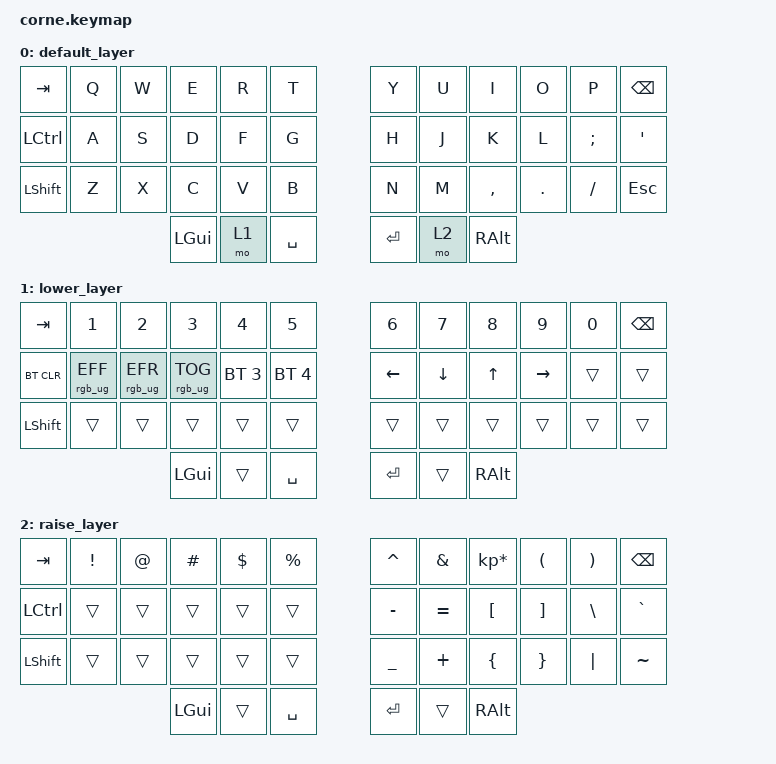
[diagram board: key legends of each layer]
/*
 * Copyright (c) 2020 The ZMK Contributors
 *
 * SPDX-License-Identifier: MIT
 */

#include <behaviors.dtsi>
#include <dt-bindings/zmk/keys.h>
#include <dt-bindings/zmk/bt.h>
#include <dt-bindings/zmk/rgb.h>

/*
 * Temporarily here because nice nano v2 spi is not defined on ZMk Yet
 * Source: https://github.com/zmkfirmware/zmk/blob/main/app/boards/shields/reviung41/boards/nice_nano.overlay
 * GitHub Issue: https://github.com/zmkfirmware/zmk/issues/885
 */

#include <dt-bindings/led/led.h>
&spi1 {
	compatible = "nordic,nrf-spim";
	status = "okay";
	mosi-pin = <6>;
	// Unused pins, needed for SPI definition, but not used by the ws2812 driver itself.
	sck-pin = <5>;
	miso-pin = <7>;

	led_strip: ws2812@0 {
		compatible = "worldsemi,ws2812-spi";
		label = "WS2812";

		/* SPI */
		reg = <0>; /* ignored, but necessary for SPI bindings */
		spi-max-frequency = <4000000>;

		/* WS2812 */
		chain-length = <28>; /* arbitrary; change at will */
		spi-one-frame = <0x70>;
		spi-zero-frame = <0x40>;
		color-mapping = <LED_COLOR_ID_GREEN LED_COLOR_ID_RED LED_COLOR_ID_BLUE>;
	};
};

/ {
	chosen {
		zmk,underglow = &led_strip;
	};
};

/ {
        keymap {
                compatible = "zmk,keymap";

                default_layer {
// -----------------------------------------------------------------------------------------
// |  TAB |  Q  |  W  |  E  |  R  |  T  |   |  Y  |  U   |  I  |  O  |  P  | BKSP |
// | CTRL |  A  |  S  |  D  |  F  |  G  |   |  H  |  J   |  K  |  L  |  ;  |  '   |
// | SHFT |  Z  |  X  |  C  |  V  |  B  |   |  N  |  M   |  ,  |  .  |  /  | ESC  |
//                    | GUI | LWR | SPC |   | ENT | RSE  | ALT |
                        bindings = <
   &kp TAB   &kp Q &kp W &kp E &kp R &kp T   &kp Y &kp U  &kp I     &kp O   &kp P    &kp BSPC
   &kp LCTRL &kp A &kp S &kp D &kp F &kp G   &kp H &kp J  &kp K     &kp L   &kp SEMI &kp SQT
   &kp LSHFT &kp Z &kp X &kp C &kp V &kp B   &kp N &kp M  &kp COMMA &kp DOT &kp FSLH &kp ESC
                  &kp LGUI &mo 1 &kp SPACE   &kp RET &mo 2 &kp RALT
                        >;
                };
                lower_layer {
// -----------------------------------------------------------------------------------------
// |  TAB   |  1     |  2     |  3    |  4    |  5    |       |  6    |  7    |  8    |  9    |  0    | BKSP   |
// | BTCLR  |RGB ANI+|RGB ANI-|RGB TOG|                       | LFT   | DWN   |  UP   | RGT   |       |        |
// | SHFT   |        |        |       |       |       |       |       |       |       |       |       |        |
//                   |   GUI  |       | SPC   |       |       | ENT   |       | ALT   |
                        bindings = <
   &kp TAB    &kp N1          &kp N2          &kp N3          &kp N4       &kp N5         &kp N6     &kp N7     &kp N8   &kp N9     &kp N0  &kp BSPC
   &bt BT_CLR &rgb_ug RGB_EFF &rgb_ug RGB_EFR &rgb_ug RGB_TOG &bt BT_SEL 3 &bt BT_SEL 4   &kp LEFT   &kp DOWN   &kp UP   &kp RIGHT   &trans &trans
   &kp LSHFT  &trans          &trans          &trans          &trans       &trans         &trans     &trans     &trans   &trans      &trans &trans
                          	              &kp LGUI        &trans       &kp SPACE      &kp RET    &trans     &kp RALT
                        >;
                };

                raise_layer {
// -----------------------------------------------------------------------------------------
// |  TAB |  !  |  @  |  #  |  $  |  %  |   |  ^  |  &  |  *  |  (  |  )  | BKSP |
// | CTRL |     |     |     |     |     |   |  -  |  =  |  [  |  ]  |  \  |  `   |
// | SHFT |     |     |     |     |     |   |  _  |  +  |  {  |  }  | "|" |  ~   |
//                    | GUI |     | SPC |   | ENT |     | ALT |
                        bindings = <
   &kp  TAB  &kp EXCL &kp AT &kp HASH &kp DLLR &kp PRCNT   &kp CARET &kp AMPS  &kp KP_MULTIPLY &kp LPAR &kp RPAR &kp BSPC
   &kp LCTRL &trans   &trans &trans   &trans   &trans      &kp MINUS &kp EQUAL &kp LBKT        &kp RBKT &kp BSLH &kp GRAVE
   &kp LSHFT &trans   &trans &trans   &trans   &trans      &kp UNDER &kp PLUS  &kp LBRC        &kp RBRC &kp PIPE &kp TILDE
                    	     &kp LGUI &trans   &kp SPACE   &kp RET   &trans    &kp RALT
                        >;
                };
        };
};
